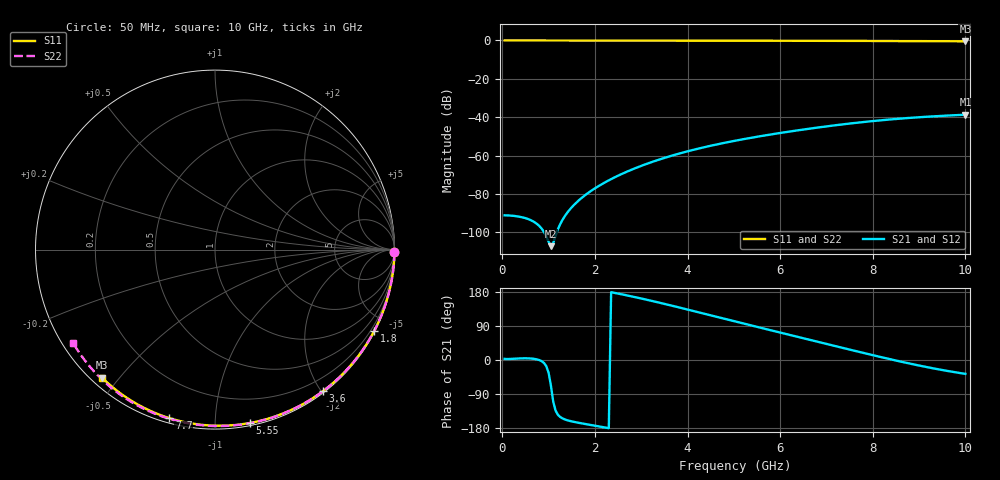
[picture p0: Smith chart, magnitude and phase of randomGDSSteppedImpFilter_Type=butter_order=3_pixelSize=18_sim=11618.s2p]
! freq	dB(S11)	phase(S11)	dB(S12)	phase(S12)
!  dB(S21)	phase(S21)	dB(S22)	phase(S22)
!S-par simulation data
#  GHz  S  DB  R 50
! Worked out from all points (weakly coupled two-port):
!   200 points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, 50 MHz to 10 GHz, reference 50 ohm
!   highest |S21| = -38.72 dB at 10 GHz (marker M1); lowest = -107.3 dB at 1.05 GHz (marker M2)
!   lowest |S11| = -0.4 dB at 10 GHz (marker M3), VSWR 40.27, Z = 1.49 - j22.5 ohm
!   |S11| at or under -10 dB: nowhere
!   |S22| runs from -0.5 to 0.0 dB; largest |S21 - S12| = 0
!   S11 on the Smith chart (normalised r, x): 50 MHz: open; 1.8 GHz: 0.04, -4.17; 3.6 GHz: 0.02, -2.02; 5.55 GHz: 0.02, -1.22; 7.7 GHz: 0.02, -0.76; 10 GHz: 0.03, -0.45
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0.05  -0.00 -0.8  -91.17 3.1  -91.17 3.1  -0.00 -0.9
0.55  -0.01 -8.3  -93.06 4.4  -93.06 4.4  -0.01 -9.4
1.05  -0.02 -15.9  -107.26 -67.4  -107.26 -67.4  -0.02 -17.8
1.75  -0.03 -26.2  -81.39 -168.0  -81.39 -168.0  -0.04 -29.4
1.8  -0.03 -27.0  -80.46 -169.0  -80.46 -169.0  -0.04 -30.3
1.85  -0.04 -27.7  -79.57 -170.1  -79.57 -170.1  -0.04 -31.1
2.05  -0.04 -30.6  -76.35 -174.4  -76.35 -174.4  -0.04 -34.4
2.2  -0.04 -32.8  -74.23 -177.7  -74.23 -177.7  -0.05 -36.8
2.55  -0.05 -37.9  -69.94 174.1  -69.94 174.1  -0.05 -42.5
2.95  -0.06 -43.6  -65.85 163.7  -65.85 163.7  -0.06 -48.8
3.4  -0.07 -49.9  -62.01 151.1  -62.01 151.1  -0.07 -55.9
3.6  -0.07 -52.7  -60.50 145.2  -60.50 145.2  -0.08 -59.0
3.9  -0.08 -56.9  -58.44 136.2  -58.44 136.2  -0.09 -63.6
4.3  -0.09 -62.3  -56.01 124.0  -56.01 124.0  -0.10 -69.6
5.05  -0.11 -72.3  -52.18 101.1  -52.18 101.1  -0.12 -80.7
5.55  -0.13 -78.7  -50.01 85.9  -50.01 85.9  -0.14 -87.8
6.1  -0.15 -85.7  -47.87 69.4  -47.87 69.4  -0.17 -95.5
6.7  -0.18 -93.1  -45.77 51.4  -45.77 51.4  -0.20 -103.7
7.7  -0.24 -105.2  -42.79 21.6  -42.79 21.6  -0.27 -117.0
8.35  -0.29 -112.8  -41.24 2.8  -41.24 2.8  -0.32 -125.5
9.2  -0.36 -122.5  -39.72 -19.5  -39.72 -19.5  -0.40 -136.5
10  -0.43 -131.4  -38.72 -36.6  -38.72 -36.6  -0.48 -146.7
